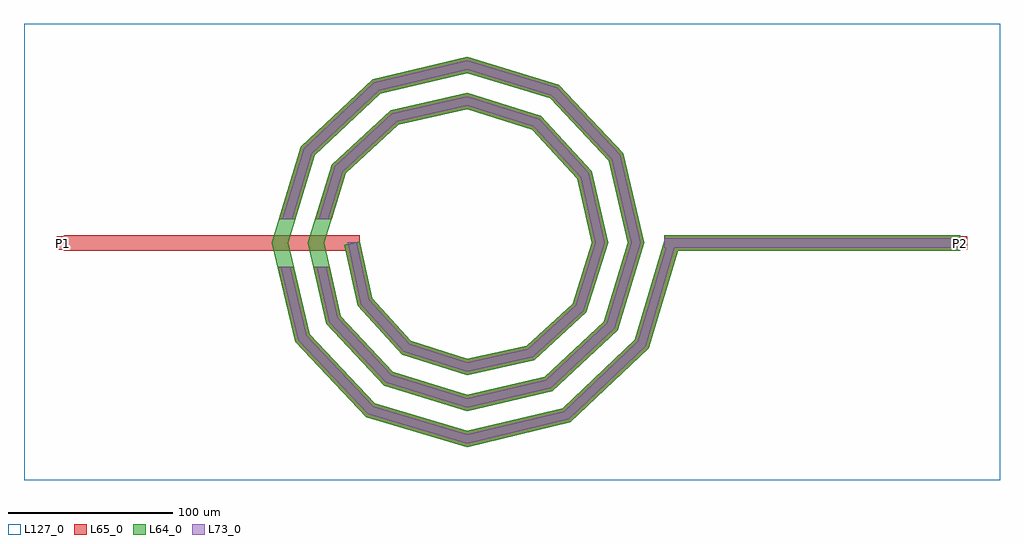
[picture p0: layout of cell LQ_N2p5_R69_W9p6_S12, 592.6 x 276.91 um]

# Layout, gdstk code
import gdstk
lib = gdstk.Library(unit=1e-6, precision=1e-09)
def R(c, l, rs):  # rectangles x0, y0, x1, y1
    for r in rs: c.add(gdstk.rectangle(r[:2], r[2:], *l))
def P(c, l, *ps):  # polygons
    for p in ps: c.add(gdstk.Polygon(p, *l))
L64_0 = (64, 0)
L65_0 = (65, 0)
L73_0 = (73, 0)
L127_0 = (127, 0)

lq_n2p5_r69_w9p6_s12 = lib.new_cell('LQ_N2p5_R69_W9p6_S12')
R(lq_n2p5_r69_w9p6_s12, L64_0, [(119.612,-4.8,299.612,4.8)])
P(lq_n2p5_r69_w9p6_s12, L64_0, [(-57.601,-33.528),(-34.035,-59.41),(0.224,-70.289),(36.244,-62.339),(64.132,-36.78),(75.751,0.209),(67.076,38.963),(39.523,68.855),(0.196,81.212),(-41.682,71.813),(-73.579,42.264),(-86.674,0.184),(-76.548,-44.404),(-45.004,-78.303),(0.174,-92.135),(47.126,-81.283),(83.029,-47.743),(97.597,0.165),(86.017,49.849),(50.482,87.754),(0.156,103.059),(-52.573,90.751),(-92.481,53.219),(-108.521,0.149),(-95.485,-55.297),(-55.956,-97.207),(0.142,-113.982),(58.023,-100.219),(101.934,-58.693),(119.811,1.369),(129.013,-1.369),(110.401,-63.899),(62.748,-108.962),(0.142,-123.918),(-61.173,-105.667),(-104.235,-60.011),(-118.455,0.149),(-100.933,58.448),(-57.274,99.509),(0.156,112.993),(55.724,96.199),(94.782,54.536),(107.531,0.165),(91.464,-53),(51.797,-90.056),(0.174,-102.069),(-50.277,-86.729),(-85.331,-49.057),(-96.607,0.184),(-81.993,47.556),(-46.316,80.606),(0.196,91.144),(44.835,77.256),(75.882,43.574),(85.682,0.209),(72.519,-42.116),(40.83,-71.158),(0.224,-80.219),(-39.398,-67.78),(-66.436,-38.085),(-74.483,-1.018),(-65.101,1.018)])
R(lq_n2p5_r69_w9p6_s12, L65_0, [(-244.992,-4.8,-64.992,4.8), (119.612,-4.8,299.612,4.8), (-248.992,-4,-240.992,4), (295.612,-4,303.612,4)])
P(lq_n2p5_r69_w9p6_s12, L65_0, [(-95.485,-55.297),(-55.956,-97.207),(0.142,-113.982),(58.023,-100.219),(101.934,-58.693),(119.812,1.369),(129.013,-1.369),(110.401,-63.899),(62.748,-108.963),(0.142,-123.918),(-61.173,-105.667),(-104.235,-60.011),(-115.017,-14.4),(-105.152,-14.4)],
  [(-76.548,-44.404),(-45.004,-78.304),(0.174,-92.135),(47.126,-81.283),(83.029,-47.743),(97.597,0.165),(86.017,49.849),(50.482,87.754),(0.156,103.059),(-52.573,90.751),(-92.481,53.219),(-104.148,14.4),(-114.172,14.4),(-100.933,58.448),(-57.274,99.509),(0.156,112.993),(55.724,96.199),(94.782,54.536),(107.531,0.165),(91.464,-53),(51.797,-90.056),(0.174,-102.069),(-50.277,-86.729),(-85.331,-49.057),(-93.267,-14.4),(-83.418,-14.4)],
  [(-34.035,-59.411),(0.224,-70.289),(36.244,-62.339),(64.132,-36.78),(75.751,0.209),(67.076,38.963),(39.523,68.855),(0.196,81.212),(-41.682,71.813),(-73.579,42.264),(-82.175,14.4),(-92.221,14.4),(-81.993,47.556),(-46.316,80.606),(0.196,91.144),(44.835,77.256),(75.882,43.574),(85.682,0.209),(72.519,-42.116),(40.83,-71.158),(0.224,-80.219),(-39.398,-67.78),(-66.436,-38.085),(-74.483,-1.018),(-65.101,1.018),(-57.601,-33.528)])
R(lq_n2p5_r69_w9p6_s12, L73_0, [(119.612,-2.8,299.612,2.8)])
P(lq_n2p5_r69_w9p6_s12, L73_0, [(-97.308,-56.279),(-57.043,-98.97),(0.083,-116.052),(59.007,-102.04),(103.698,-59.777),(121.728,0.799),(127.096,0.799),(108.637,-62.814),(61.764,-107.141),(0.083,-121.848),(-60.086,-103.905),(-102.412,-59.029),(-112.962,-14.4),(-107.207,-14.4)],
  [(-78.378,-45.373),(-46.103,-80.059),(0.101,-94.205),(48.099,-83.111),(84.786,-48.838),(99.667,0.096),(87.843,50.825),(51.574,89.514),(0.091,105.129),(-53.552,92.576),(-94.242,54.309),(-106.236,14.4),(-112.084,14.4),(-99.172,57.359),(-56.295,97.684),(0.091,110.924),(54.632,94.44),(92.956,53.559),(105.462,0.096),(89.707,-51.905),(50.824,-88.229),(0.101,-99.999),(-49.179,-84.974),(-83.501,-48.088),(-91.215,-14.4),(-85.47,-14.4)],
  [(-35.153,-61.154),(0.131,-72.358),(37.2,-64.177),(65.879,-37.891),(77.82,0.122),(68.911,39.923),(40.629,70.605),(0.114,83.281),(-42.648,73.644),(-75.332,43.366),(-84.268,14.4),(-90.128,14.4),(-80.24,46.453),(-45.351,78.774),(0.114,89.075),(43.728,75.506),(74.047,42.613),(83.613,0.122),(70.772,-41.004),(39.875,-69.321),(0.131,-78.15),(-38.281,-66.036),(-64.595,-37.135),(-72.528,0.594),(-67.056,0.594),(-59.442,-34.477)])
R(lq_n2p5_r69_w9p6_s12, L127_0, [(-268.992,-143.918,323.612,132.993)])
lq_n2p5_r69_w9p6_s12.add(gdstk.Label('P2', (299.612,0), layer=65, texttype=0))
lq_n2p5_r69_w9p6_s12.add(gdstk.Label('P1', (-244.992,0), layer=65, texttype=0))
lq_n2p5_r69_w9p6_s12.add(gdstk.Label('P2', (303.612,0), layer=145, texttype=0))
lq_n2p5_r69_w9p6_s12.add(gdstk.Label('P1', (-248.992,0), layer=145, texttype=0))

lib.write_gds('LQ_N2p5_R69_W9p6_S12.gds')
